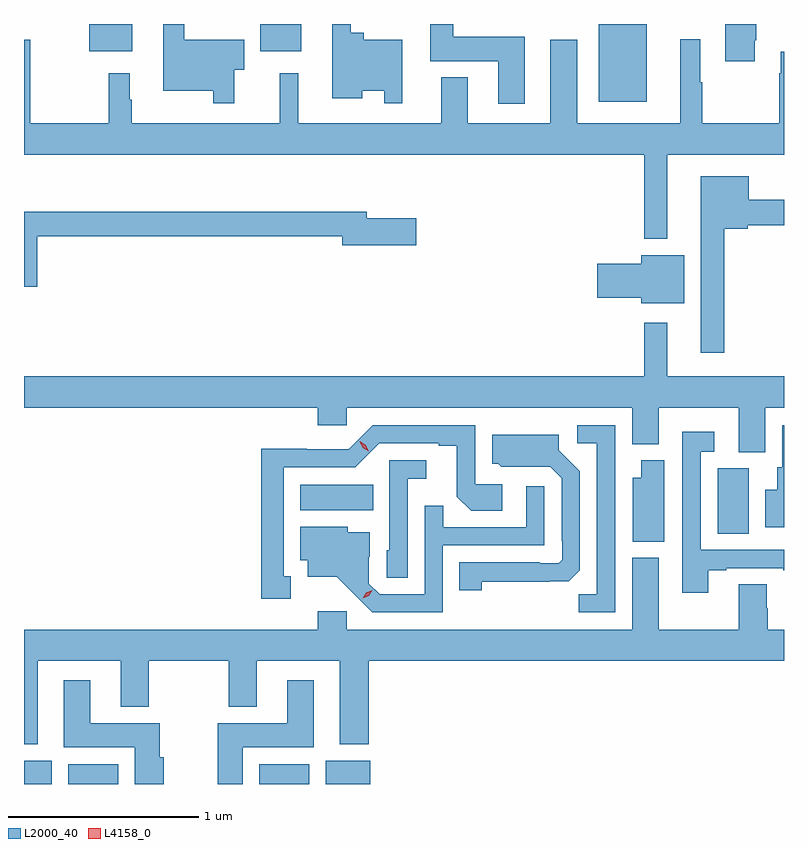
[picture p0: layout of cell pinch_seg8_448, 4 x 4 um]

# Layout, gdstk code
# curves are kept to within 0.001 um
import gdstk
lib = gdstk.Library(unit=1e-6, precision=1e-09)
def R(c, l, rs):  # rectangles x0, y0, x1, y1
    for r in rs: c.add(gdstk.rectangle(r[:2], r[2:], *l))
def P(c, l, *ps):  # polygons
    for p in ps: c.add(gdstk.Polygon(p, *l))
L2000_40 = (2000, 40)
L4158_0 = (4158, 0)

pinch_seg8_448 = lib.new_cell('pinch_seg8_448')
R(pinch_seg8_448, L2000_40, [(218.724,1131.835,218.869,1131.958), (218.957,1131.835,219.22,1131.94), (219.962,1131.835,220.225,1131.94), (220.313,1131.835,220.546,1131.958), (222.374,1133.152,222.538,1133.496), (220.178,1133.276,220.562,1133.41), (221.75,1135.427,222.001,1135.835), (219.068,1135.691,219.295,1135.835), (219.968,1135.691,220.183,1135.835)])
P(pinch_seg8_448, L2000_40, [(220.716,1135.753),(220.512,1135.753),(220.512,1135.789),(220.443,1135.789),(220.443,1135.835),(220.347,1135.835),(220.347,1135.785),(220.346,1135.785),(220.346,1135.445),(220.504,1135.445),(220.504,1135.484),(220.62,1135.484),(220.62,1135.419),(220.716,1135.419)],
  [(221.359,1135.768),(220.984,1135.768),(220.984,1135.835),(220.862,1135.835),(220.862,1135.64),(221.219,1135.64),(221.219,1135.416),(221.359,1135.416)],
  [(219.831,1135.595),(219.883,1135.595),(219.883,1135.753),(219.568,1135.753),(219.568,1135.835),(219.458,1135.835),(219.458,1135.484),(219.72,1135.484),(219.72,1135.419),(219.831,1135.419)],
  [(222.571,1135.75),(222.579,1135.75),(222.579,1135.835),(222.416,1135.835),(222.416,1135.638),(222.571,1135.638)],
  [(222.109,1135.148),(222.724,1135.148),(222.724,1135.69),(222.707,1135.69),(222.707,1135.577),(222.7,1135.577),(222.7,1135.312),(222.293,1135.312),(222.293,1135.529),(222.283,1135.529),(222.283,1135.756),(222.179,1135.756),(222.179,1135.312),(221.635,1135.312),(221.635,1135.753),(221.495,1135.753),(221.495,1135.312),(221.059,1135.312),(221.059,1135.555),(220.919,1135.555),(220.919,1135.312),(220.168,1135.312),(220.168,1135.576),(220.069,1135.576),(220.069,1135.312),(219.292,1135.312),(219.292,1135.436),(219.28,1135.436),(219.28,1135.576),(219.171,1135.576),(219.171,1135.312),(218.757,1135.312),(218.757,1135.753),(218.724,1135.753),(218.724,1135.148),(221.988,1135.148),(221.988,1134.704),(222.109,1134.704)],
  [(222.409,1134.758),(222.534,1134.758),(222.534,1134.776),(222.724,1134.776),(222.724,1134.91),(222.538,1134.91),(222.538,1135.033),(222.287,1135.033),(222.287,1134.105),(222.409,1134.105)],
  [(218.795,1134.718),(220.4,1134.718),(220.4,1134.671),(220.789,1134.671),(220.789,1134.813),(220.528,1134.813),(220.528,1134.847),(218.724,1134.847),(218.724,1134.453),(218.795,1134.453)],
  [(222.199,1134.619),(221.972,1134.619),(221.972,1134.572),(221.742,1134.572),(221.742,1134.394),(221.972,1134.394),(221.972,1134.365),(222.199,1134.365)],
  [(222.625,1133.816),(222.724,1133.816),(222.724,1133.98),(222.109,1133.98),(222.109,1134.262),(221.988,1134.262),(221.988,1133.98),(218.724,1133.98),(218.724,1133.816),(220.271,1133.816),(220.271,1133.723),(220.422,1133.723),(220.422,1133.816),(221.924,1133.816),(221.924,1133.624),(222.064,1133.624),(222.064,1133.816),(222.485,1133.816),(222.485,1133.581),(222.625,1133.581)],
  [(220.129,1132.929),(220.09,1132.929),(220.09,1133.502),(220.467,1133.502),(220.593,1133.628),(220.907,1133.628),(220.907,1133.616),(221.001,1133.616),(221.001,1133.348),(221.077,1133.272),(221.242,1133.272),(221.242,1133.412),(221.1,1133.412),(221.1,1133.724),(220.56,1133.724),(220.434,1133.598),(220.212,1133.598),(220.212,1133.6),(219.972,1133.6),(219.972,1132.809),(220.129,1132.809)],
  [(221.835,1133.724),(221.637,1133.724),(221.637,1133.628),(221.739,1133.628),(221.739,1132.835),(221.644,1132.835),(221.644,1132.74),(221.835,1132.74)],
  [(222.724,1133.724),(222.714,1133.724),(222.714,1133.502),(222.689,1133.502),(222.689,1133.383),(222.626,1133.383),(222.626,1133.187),(222.724,1133.187)],
  [(222.325,1132.959),(222.421,1132.959),(222.421,1132.971),(222.721,1132.971),(222.721,1132.959),(222.724,1132.959),(222.724,1133.067),(222.285,1133.067),(222.285,1133.583),(222.358,1133.583),(222.358,1133.689),(222.189,1133.689),(222.189,1132.842),(222.325,1132.842)],
  [(221.133,1132.9),(221.59,1132.901),(221.649,1132.96),(221.649,1133.482),(221.539,1133.592),(221.539,1133.674),(221.189,1133.674),(221.189,1133.52),(221.22,1133.52),(221.236,1133.504),(221.493,1133.505),(221.553,1133.445),(221.553,1133.116),(221.556,1133.116),(221.556,1133.016),(221.538,1132.998),(221.438,1132.998),(221.438,1133.001),(221.014,1133.001),(221.014,1132.854),(221.133,1132.854)],
  [(222.094,1133.539),(221.972,1133.539),(221.972,1133.446),(221.927,1133.446),(221.927,1133.111),(222.094,1133.111)],
  [(220.743,1133.441),(220.84,1133.441),(220.84,1133.538),(220.647,1133.538),(220.647,1133.064),(220.632,1133.064),(220.632,1132.921),(220.743,1132.921)],
  [(220.929,1133.091),(221.463,1133.091),(221.463,1133.401),(221.367,1133.401),(221.367,1133.187),(220.931,1133.187),(220.931,1133.3),(220.833,1133.3),(220.833,1132.833),(220.596,1132.833),(220.539,1132.89),(220.539,1133.032),(220.543,1133.032),(220.543,1133.161),(220.428,1133.161),(220.428,1133.188),(220.178,1133.188),(220.178,1133.012),(220.217,1133.012),(220.217,1132.925),(220.369,1132.925),(220.556,1132.74),(220.929,1132.74)],
  [(218.797,1132.484),(219.233,1132.484),(219.233,1132.241),(219.381,1132.241),(219.381,1132.484),(219.802,1132.484),(219.802,1132.241),(219.949,1132.241),(219.949,1132.484),(220.385,1132.484),(220.385,1132.043),(220.538,1132.043),(220.538,1132.484),(222.724,1132.484),(222.724,1132.648),(222.638,1132.648),(222.638,1132.761),(222.633,1132.761),(222.633,1132.886),(222.485,1132.886),(222.485,1132.648),(222.064,1132.648),(222.064,1133.026),(221.924,1133.026),(221.924,1132.648),(220.422,1132.648),(220.422,1132.744),(220.271,1132.744),(220.271,1132.648),(218.724,1132.648),(218.724,1132.043),(218.797,1132.043)],
  [(219.874,1132.028),(220.249,1132.028),(220.249,1132.381),(220.109,1132.381),(220.109,1132.156),(219.745,1132.156),(219.745,1131.835),(219.874,1131.835)],
  [(219.459,1131.975),(219.438,1131.975),(219.438,1132.156),(219.073,1132.156),(219.073,1132.381),(218.933,1132.381),(218.933,1132.028),(219.308,1132.028),(219.308,1131.835),(219.459,1131.835)])
P(pinch_seg8_448, L4158_0, [(220.539,1133.587),(220.507,1133.606),(220.49,1133.639),(220.49,1133.639),(220.49,1133.639),(220.521,1133.62),(220.539,1133.587),(220.539,1133.587)],
  [(220.508,1132.812),(220.508,1132.812),(220.525,1132.841),(220.556,1132.856),(220.556,1132.856),(220.556,1132.856),(220.539,1132.826),(220.508,1132.812)])

lib.write_gds('pinch_seg8_448.gds')
